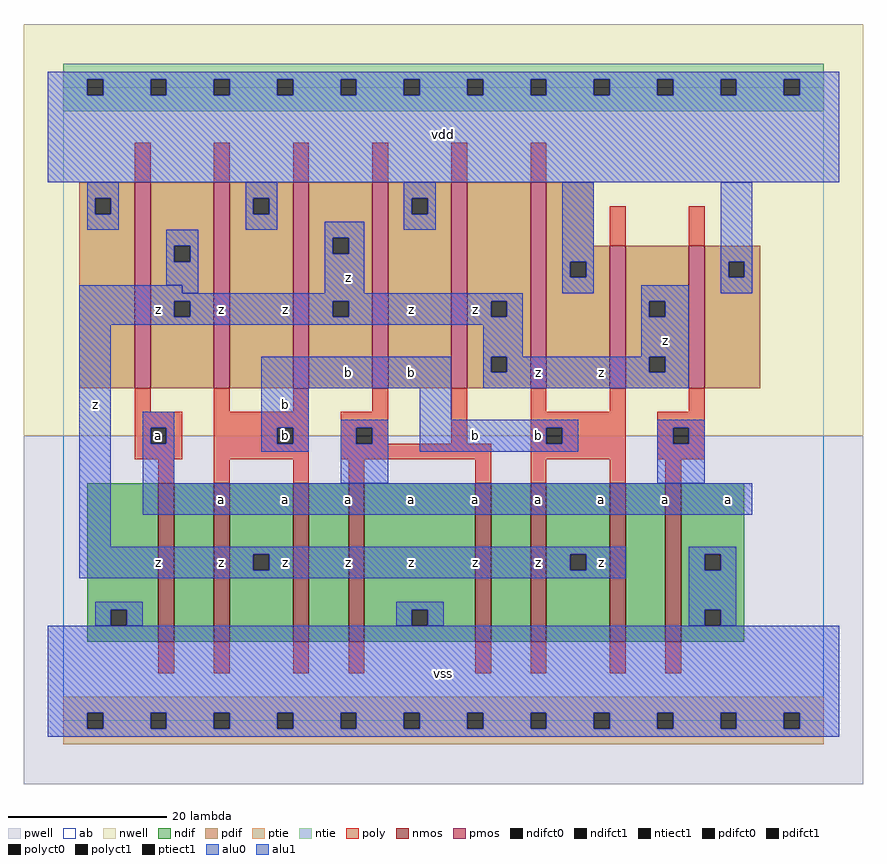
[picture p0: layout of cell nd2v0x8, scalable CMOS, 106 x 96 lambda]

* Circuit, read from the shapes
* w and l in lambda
.subckt nd2v0x8 a b vdd vss z
M1 n1 a vss vss nfet w=20 l=2
M2 z b n1 vss nfet w=20 l=2
M3 n2 b z vss nfet w=20 l=2
M4 vss a n2 vss nfet w=20 l=2
M5 n3 a vss vss nfet w=20 l=2
M6 z b n3 vss nfet w=20 l=2
M7 n4 b z vss nfet w=20 l=2
M8 vss a n4 vss nfet w=20 l=2
M9 z a vdd vdd pfet w=26 l=2 m=3
M10 vdd b z vdd pfet w=26 l=2 m=3
M11 z b vdd vdd pfet w=18 l=2
M12 vdd a z vdd pfet w=18 l=2
.ends

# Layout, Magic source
magic
tech scmos
<< ab >>
rect 0 0 96 80
<< nwell >>
rect -5 36 101 88
<< pwell >>
rect -5 -8 101 36
<< poly >>
rect 9 68 11 73
rect 19 68 21 73
rect 29 68 31 73
rect 39 68 41 73
rect 49 68 51 73
rect 59 68 61 73
rect 69 60 71 65
rect 79 60 81 65
rect 9 39 11 42
rect 19 39 21 42
rect 29 39 31 42
rect 39 39 41 42
rect 9 37 15 39
rect 9 35 11 37
rect 13 35 15 37
rect 9 33 15 35
rect 19 37 31 39
rect 19 35 27 37
rect 29 35 31 37
rect 19 33 31 35
rect 35 37 41 39
rect 35 35 37 37
rect 39 35 41 37
rect 49 35 51 42
rect 59 39 61 42
rect 69 39 71 42
rect 79 39 81 42
rect 59 37 71 39
rect 59 35 61 37
rect 63 35 71 37
rect 35 33 54 35
rect 12 30 14 33
rect 19 30 21 33
rect 29 30 31 33
rect 36 30 38 33
rect 52 30 54 33
rect 59 33 71 35
rect 75 37 81 39
rect 75 35 77 37
rect 79 35 81 37
rect 75 33 81 35
rect 59 30 61 33
rect 69 30 71 33
rect 76 30 78 33
rect 12 6 14 10
rect 19 6 21 10
rect 29 6 31 10
rect 36 6 38 10
rect 52 6 54 10
rect 59 6 61 10
rect 69 6 71 10
rect 76 6 78 10
<< ndif >>
rect 3 14 12 30
rect 3 12 6 14
rect 8 12 12 14
rect 3 10 12 12
rect 14 10 19 30
rect 21 21 29 30
rect 21 19 24 21
rect 26 19 29 21
rect 21 10 29 19
rect 31 10 36 30
rect 38 14 52 30
rect 38 12 44 14
rect 46 12 52 14
rect 38 10 52 12
rect 54 10 59 30
rect 61 21 69 30
rect 61 19 64 21
rect 66 19 69 21
rect 61 10 69 19
rect 71 10 76 30
rect 78 21 86 30
rect 78 19 81 21
rect 83 19 86 21
rect 78 14 86 19
rect 78 12 81 14
rect 83 12 86 14
rect 78 10 86 12
<< pdif >>
rect 2 66 9 68
rect 2 64 4 66
rect 6 64 9 66
rect 2 42 9 64
rect 11 60 19 68
rect 11 58 14 60
rect 16 58 19 60
rect 11 53 19 58
rect 11 51 14 53
rect 16 51 19 53
rect 11 42 19 51
rect 21 66 29 68
rect 21 64 24 66
rect 26 64 29 66
rect 21 42 29 64
rect 31 61 39 68
rect 31 59 34 61
rect 36 59 39 61
rect 31 53 39 59
rect 31 51 34 53
rect 36 51 39 53
rect 31 42 39 51
rect 41 66 49 68
rect 41 64 44 66
rect 46 64 49 66
rect 41 42 49 64
rect 51 53 59 68
rect 51 51 54 53
rect 56 51 59 53
rect 51 46 59 51
rect 51 44 54 46
rect 56 44 59 46
rect 51 42 59 44
rect 61 60 67 68
rect 61 58 69 60
rect 61 56 64 58
rect 66 56 69 58
rect 61 42 69 56
rect 71 53 79 60
rect 71 51 74 53
rect 76 51 79 53
rect 71 46 79 51
rect 71 44 74 46
rect 76 44 79 46
rect 71 42 79 44
rect 81 58 88 60
rect 81 56 84 58
rect 86 56 88 58
rect 81 42 88 56
<< alu1 >>
rect -2 81 98 82
rect -2 79 3 81
rect 5 79 11 81
rect 13 79 19 81
rect 21 79 27 81
rect 29 79 35 81
rect 37 79 43 81
rect 45 79 51 81
rect 53 79 59 81
rect 61 79 67 81
rect 69 79 75 81
rect 77 79 83 81
rect 85 79 91 81
rect 93 79 98 81
rect -2 68 98 79
rect 2 54 15 55
rect 33 61 38 63
rect 33 59 34 61
rect 36 59 38 61
rect 33 54 38 59
rect 2 53 58 54
rect 2 51 14 53
rect 16 51 34 53
rect 36 51 54 53
rect 56 51 58 53
rect 2 50 58 51
rect 2 22 6 50
rect 53 46 58 50
rect 73 53 79 55
rect 73 51 74 53
rect 76 51 79 53
rect 73 46 79 51
rect 25 42 49 46
rect 53 44 54 46
rect 56 44 74 46
rect 76 44 79 46
rect 53 42 79 44
rect 10 37 14 39
rect 10 35 11 37
rect 13 35 14 37
rect 10 30 14 35
rect 25 37 31 42
rect 45 38 49 42
rect 25 35 27 37
rect 29 35 31 37
rect 25 34 31 35
rect 45 37 65 38
rect 45 35 61 37
rect 63 35 65 37
rect 45 34 65 35
rect 10 26 87 30
rect 2 21 71 22
rect 2 19 24 21
rect 26 19 64 21
rect 66 19 71 21
rect 2 18 71 19
rect -2 1 98 12
rect -2 -1 3 1
rect 5 -1 11 1
rect 13 -1 19 1
rect 21 -1 27 1
rect 29 -1 35 1
rect 37 -1 43 1
rect 45 -1 51 1
rect 53 -1 59 1
rect 61 -1 67 1
rect 69 -1 75 1
rect 77 -1 83 1
rect 85 -1 91 1
rect 93 -1 98 1
rect -2 -2 98 -1
<< ptie >>
rect 0 1 96 3
rect 0 -1 3 1
rect 5 -1 11 1
rect 13 -1 19 1
rect 21 -1 27 1
rect 29 -1 35 1
rect 37 -1 43 1
rect 45 -1 51 1
rect 53 -1 59 1
rect 61 -1 67 1
rect 69 -1 75 1
rect 77 -1 83 1
rect 85 -1 91 1
rect 93 -1 96 1
rect 0 -3 96 -1
<< ntie >>
rect 0 81 96 83
rect 0 79 3 81
rect 5 79 11 81
rect 13 79 19 81
rect 21 79 27 81
rect 29 79 35 81
rect 37 79 43 81
rect 45 79 51 81
rect 53 79 59 81
rect 61 79 67 81
rect 69 79 75 81
rect 77 79 83 81
rect 85 79 91 81
rect 93 79 96 81
rect 0 77 96 79
<< nmos >>
rect 12 10 14 30
rect 19 10 21 30
rect 29 10 31 30
rect 36 10 38 30
rect 52 10 54 30
rect 59 10 61 30
rect 69 10 71 30
rect 76 10 78 30
<< pmos >>
rect 9 42 11 68
rect 19 42 21 68
rect 29 42 31 68
rect 39 42 41 68
rect 49 42 51 68
rect 59 42 61 68
rect 69 42 71 60
rect 79 42 81 60
<< polyct0 >>
rect 37 35 39 37
rect 77 35 79 37
<< polyct1 >>
rect 11 35 13 37
rect 27 35 29 37
rect 61 35 63 37
<< ndifct0 >>
rect 6 12 8 14
rect 44 12 46 14
rect 81 19 83 21
rect 81 12 83 14
<< ndifct1 >>
rect 24 19 26 21
rect 64 19 66 21
<< ntiect1 >>
rect 3 79 5 81
rect 11 79 13 81
rect 19 79 21 81
rect 27 79 29 81
rect 35 79 37 81
rect 43 79 45 81
rect 51 79 53 81
rect 59 79 61 81
rect 67 79 69 81
rect 75 79 77 81
rect 83 79 85 81
rect 91 79 93 81
<< ptiect1 >>
rect 3 -1 5 1
rect 11 -1 13 1
rect 19 -1 21 1
rect 27 -1 29 1
rect 35 -1 37 1
rect 43 -1 45 1
rect 51 -1 53 1
rect 59 -1 61 1
rect 67 -1 69 1
rect 75 -1 77 1
rect 83 -1 85 1
rect 91 -1 93 1
<< pdifct0 >>
rect 4 64 6 66
rect 14 58 16 60
rect 24 64 26 66
rect 44 64 46 66
rect 64 56 66 58
rect 84 56 86 58
<< pdifct1 >>
rect 14 51 16 53
rect 34 59 36 61
rect 34 51 36 53
rect 54 51 56 53
rect 54 44 56 46
rect 74 51 76 53
rect 74 44 76 46
<< alu0 >>
rect 3 66 7 68
rect 3 64 4 66
rect 6 64 7 66
rect 3 62 7 64
rect 23 66 27 68
rect 23 64 24 66
rect 26 64 27 66
rect 23 62 27 64
rect 43 66 47 68
rect 43 64 44 66
rect 46 64 47 66
rect 13 60 17 62
rect 13 58 14 60
rect 16 58 17 60
rect 13 55 17 58
rect 15 54 17 55
rect 43 62 47 64
rect 63 58 67 68
rect 63 56 64 58
rect 66 56 67 58
rect 63 54 67 56
rect 83 58 87 68
rect 83 56 84 58
rect 86 56 87 58
rect 83 54 87 56
rect 35 37 41 38
rect 35 35 37 37
rect 39 35 41 37
rect 35 30 41 35
rect 75 37 81 38
rect 75 35 77 37
rect 79 35 81 37
rect 75 30 81 35
rect 79 21 85 22
rect 79 19 81 21
rect 83 19 85 21
rect 4 14 10 15
rect 4 12 6 14
rect 8 12 10 14
rect 42 14 48 15
rect 42 12 44 14
rect 46 12 48 14
rect 79 14 85 19
rect 79 12 81 14
rect 83 12 85 14
<< labels >>
rlabel alu1 12 20 12 20 6 z
rlabel alu1 4 40 4 40 6 z
rlabel polyct1 12 36 12 36 6 a
rlabel alu1 12 52 12 52 6 z
rlabel alu1 20 20 20 20 6 z
rlabel alu1 20 28 20 28 6 a
rlabel alu1 28 20 28 20 6 z
rlabel alu1 28 28 28 28 6 a
rlabel polyct1 28 36 28 36 6 b
rlabel alu1 28 40 28 40 6 b
rlabel alu1 28 52 28 52 6 z
rlabel alu1 20 52 20 52 6 z
rlabel alu1 48 6 48 6 6 vss
rlabel alu1 36 20 36 20 6 z
rlabel alu1 36 28 36 28 6 a
rlabel alu1 44 20 44 20 6 z
rlabel alu1 44 28 44 28 6 a
rlabel alu1 52 20 52 20 6 z
rlabel alu1 52 28 52 28 6 a
rlabel alu1 36 44 36 44 6 b
rlabel alu1 44 44 44 44 6 b
rlabel alu1 52 36 52 36 6 b
rlabel alu1 44 52 44 52 6 z
rlabel alu1 52 52 52 52 6 z
rlabel alu1 36 56 36 56 6 z
rlabel alu1 48 74 48 74 6 vdd
rlabel alu1 60 20 60 20 6 z
rlabel alu1 60 28 60 28 6 a
rlabel alu1 68 20 68 20 6 z
rlabel alu1 68 28 68 28 6 a
rlabel alu1 76 28 76 28 6 a
rlabel alu1 60 36 60 36 6 b
rlabel alu1 60 44 60 44 6 z
rlabel alu1 68 44 68 44 6 z
rlabel alu1 76 48 76 48 6 z
rlabel alu1 84 28 84 28 6 a
<< end >>
